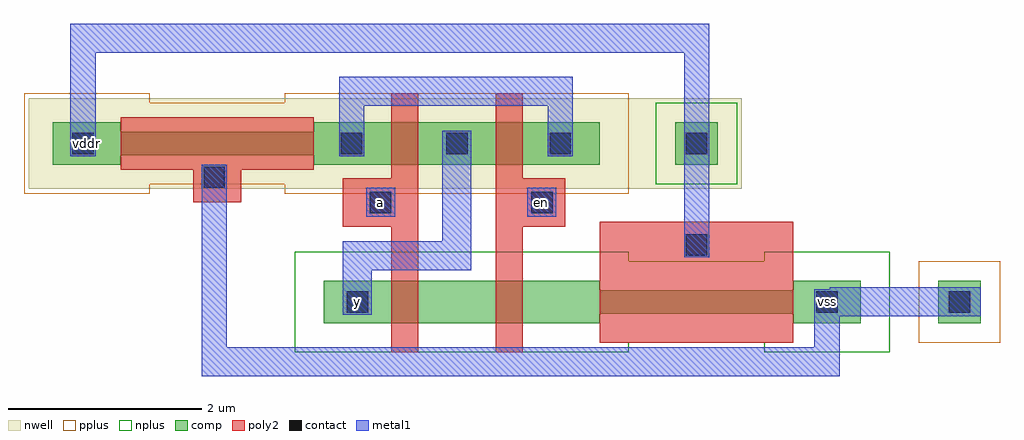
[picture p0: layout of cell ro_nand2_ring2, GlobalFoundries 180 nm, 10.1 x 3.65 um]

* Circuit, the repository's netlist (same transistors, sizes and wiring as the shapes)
* extracted by klt extract --deck gf180mcu

* cell ro_nand2_ring2
* pin a
* pin en
* pin vddr
* pin vss
* pin y
.SUBCKT ro_nand2_ring2 a en vddr vss y
* device instance $1 r0 *1 3.86,0.22 nfet
X$1 vss vddr \$8 vss nfet_03v3 L=2U W=0.24U AS=0.176P AD=0.308P PS=1.24U
+ PD=2.28U
* device instance $2 r0 *1 0.84,0.22 nfet
X$2 \$7 a y vss nfet_03v3 L=0.28U W=0.44U AS=0.308P AD=0.176P PS=2.28U PD=1.24U
* device instance $3 r0 *1 1.92,0.22 nfet
X$3 \$8 en \$7 vss nfet_03v3 L=0.28U W=0.44U AS=0.176P AD=0.176P PS=1.24U
+ PD=1.24U
* device instance $4 r0 *1 -1.1,1.86 pfet
X$4 \$6 vss vddr vddr pfet_03v3 L=2U W=0.24U AS=0.308P AD=0.176P PS=2.28U
+ PD=1.24U
* device instance $5 r0 *1 0.84,1.86 pfet
X$5 y a \$6 vddr pfet_03v3 L=0.28U W=0.44U AS=0.176P AD=0.176P PS=1.24U PD=1.24U
* device instance $6 r0 *1 1.92,1.86 pfet
X$6 \$6 en y vddr pfet_03v3 L=0.28U W=0.44U AS=0.176P AD=0.352P PS=1.24U
+ PD=2.48U
.ENDS ro_nand2_ring2

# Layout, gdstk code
import gdstk
lib = gdstk.Library(unit=1e-6, precision=1e-09)
def R(c, l, rs):  # rectangles x0, y0, x1, y1
    for r in rs: c.add(gdstk.rectangle(r[:2], r[2:], *l))
nwell = (21, 0)
comp = (22, 0)
poly2 = (30, 0)
pplus = (31, 0)
nplus = (32, 0)
contact = (33, 0)
metal1 = (34, 0)

ro_nand2_ring2 = lib.new_cell('ro_nand2_ring2')
R(ro_nand2_ring2, nwell, [(-3.05,1.39,3.11,2.33), (3.01,1.39,4.33,2.33)])
R(ro_nand2_ring2, comp, [(0,0,2.86,0.44), (4.86,0,5.56,0.44), (6.36,0,6.8,0.44), (2.86,0.1,4.86,0.34), (-2.8,1.64,-2.1,2.08), (-0.1,1.64,2.86,2.08), (3.64,1.64,4.08,2.08), (-2.1,1.74,-0.1,1.98)])
R(ro_nand2_ring2, poly2, [(0.7,-0.3,0.98,2.38), (1.78,-0.3,2.06,2.38), (2.86,-0.2,4.86,1.05), (0.2,1,0.98,1.5), (1.78,1,2.5,1.5), (-1.35,1.25,-0.85,1.7), (-2.1,1.59,-0.1,2.13)])
R(ro_nand2_ring2, pplus, [(6.16,-0.2,7,0.64), (-3.1,1.34,-1.8,2.38), (-0.4,1.34,3.16,2.38), (-2.4,1.44,0.2,2.28)])
R(ro_nand2_ring2, nplus, [(-0.3,-0.3,3.16,0.74), (4.56,-0.3,5.86,0.74), (2.56,-0.2,5.16,0.64), (3.44,1.44,4.28,2.28)])
R(ro_nand2_ring2, contact, [(0.24,0.11,0.46,0.33), (5.1,0.11,5.32,0.33), (6.47,0.11,6.69,0.33), (3.75,0.7,3.97,0.92), (0.48,1.14,0.7,1.36), (2.15,1.14,2.37,1.36), (-1.24,1.4,-1.02,1.62), (-2.6,1.75,-2.38,1.97), (0.18,1.75,0.4,1.97), (1.27,1.75,1.49,1.97), (2.34,1.75,2.56,1.97), (3.75,1.75,3.97,1.97)])
R(ro_nand2_ring2, metal1, [(-1.26,-0.55,-1,1.64), (-1.26,-0.55,5.34,-0.25), (5.08,-0.55,5.34,0.35), (5.24,0.07,6.8,0.37), (0.2,0.09,0.5,0.85), (0.2,0.55,1.53,0.85), (1.23,0.55,1.53,1.99), (3.73,0.68,3.99,3.1), (0.44,1.1,0.74,1.4), (2.11,1.1,2.41,1.4), (-2.62,1.73,-2.36,3.1), (0.16,1.73,0.42,2.55), (2.32,1.73,2.58,2.55), (0.16,2.25,2.58,2.55), (-2.62,2.8,3.99,3.1)])
ro_nand2_ring2.add(gdstk.Label('a', (0.59,1.25), layer=34, texttype=10))
ro_nand2_ring2.add(gdstk.Label('en', (2.26,1.25), layer=34, texttype=10))
ro_nand2_ring2.add(gdstk.Label('y', (0.35,0.22), layer=34, texttype=10))
ro_nand2_ring2.add(gdstk.Label('vddr', (-2.45,1.86), layer=34, texttype=10))
ro_nand2_ring2.add(gdstk.Label('vss', (5.21,0.22), layer=34, texttype=10))

lib.write_gds('ro_nand2_ring2.gds')
